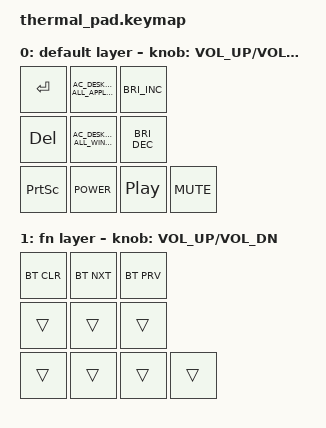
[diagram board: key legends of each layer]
#include <behaviors.dtsi>
#include <dt-bindings/zmk/bt.h>
#include <dt-bindings/zmk/keys.h>

#define DEFAULT 0
#define FUNC    1

/ {
    combos {
        compatible = "zmk,combos";

        combo_bootloader {
            timeout-ms = <50>;
            key-positions = <4 5 6>;
            bindings = <&bootloader>;
        };

        combo_layer {
            timeout-ms = <50>;
            key-positions = <0 1>;
            bindings = <&tog FUNC>;
        };
    };
};

/ {
    macros {
        name_this: name_this {
            compatible = "zmk,behavior-macro";
            #binding-cells = <0>;
            bindings =
                <&macro_press>,
                <&kp LSHFT>,
                <&macro_tap>,
                <&kp T &kp H &kp E &kp R &kp M &kp A &kp L>,
                <&macro_release>,
                <&kp LSHFT>;
        };
    };
};

/ {
    keymap {
        compatible = "zmk,keymap";

        default_layer {
            display-name = "default layer";
            bindings = <
&kp RETURN       &kp C_AC_DESKTOP_SHOW_ALL_APPLICATIONS  &kp C_BRIGHTNESS_INC
&kp DEL          &kp C_AC_DESKTOP_SHOW_ALL_WINDOWS       &kp C_BRIGHTNESS_DEC
&kp PRINTSCREEN  &kp C_POWER                             &kp C_PLAY_PAUSE      &kp C_MUTE
            >;

            sensor-bindings = <&inc_dec_kp C_VOL_UP C_VOL_DN>;
        };

        fn_layer {
            display-name = "fn layer";
            bindings = <
&bt BT_CLR  &bt BT_NXT  &bt BT_PRV
&trans      &trans      &trans
&trans      &trans      &trans      &trans
            >;

            sensor-bindings = <&inc_dec_kp C_VOL_UP C_VOL_DN>;
        };
    };
};
